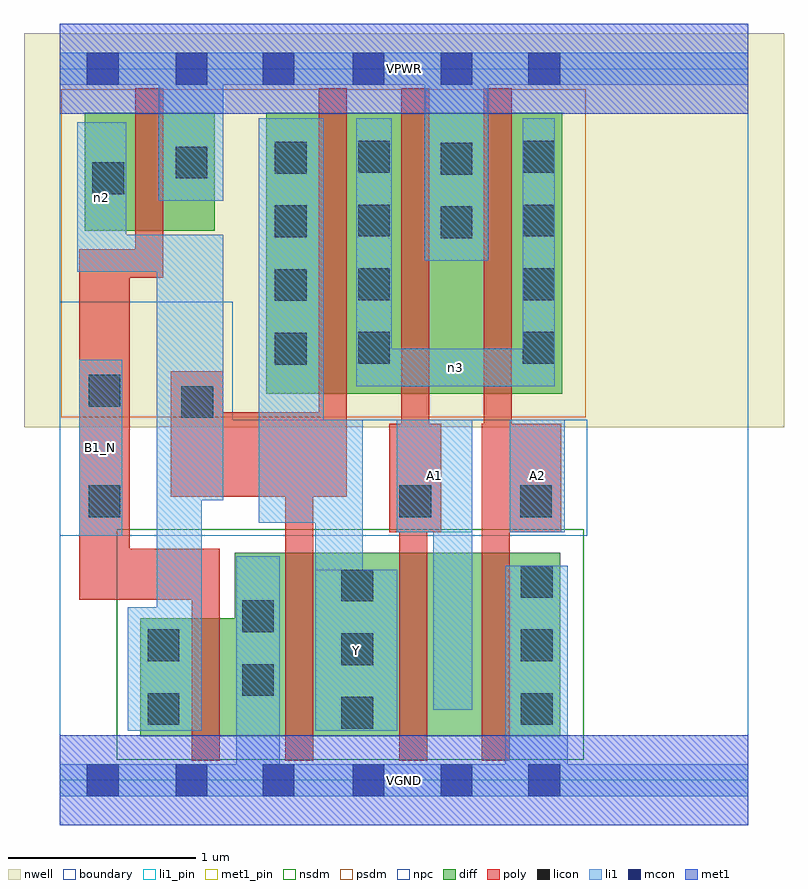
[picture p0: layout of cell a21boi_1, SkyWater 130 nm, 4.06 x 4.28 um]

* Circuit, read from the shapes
.subckt a21boi_1 A1 A2 B1_N VGND VPWR Y n2 n3
XM1 VGND B1_N n2 VSUBS sky130_fd_pr__nfet_01v8 w=0.63 l=0.15
XM2 Y n2 VGND VSUBS sky130_fd_pr__nfet_01v8 w=0.98 l=0.15
XM3 n1 A1 Y VSUBS sky130_fd_pr__nfet_01v8 w=0.98 l=0.15
XM4 VGND A2 n1 VSUBS sky130_fd_pr__nfet_01v8 w=0.98 l=0.15
XM5 VPWR B1_N n2 n4 sky130_fd_pr__pfet_01v8 w=0.63 l=0.15
XM6 n3 n2 Y n4 sky130_fd_pr__pfet_01v8 w=1.5 l=0.15
XM7 VPWR A1 n3 n4 sky130_fd_pr__pfet_01v8 w=1.5 l=0.15
XM8 n3 A2 VPWR n4 sky130_fd_pr__pfet_01v8 w=1.5 l=0.15
.ends

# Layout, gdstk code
import gdstk
lib = gdstk.Library(unit=1e-6, precision=1e-09)
def R(c, l, rs):  # rectangles x0, y0, x1, y1
    for r in rs: c.add(gdstk.rectangle(r[:2], r[2:], *l))
def A(c, l, x, y, w, h, nx, ny, dx, dy):  # array of equal rectangles
    R(c, l, [(x+i*dx, y+j*dy, x+i*dx+w, y+j*dy+h) for i in range(nx) for j in range(ny)])
nwell = (64, 20)
diff = (65, 20)
poly = (66, 20)
licon = (66, 44)
li1_pin = (67, 16)
li1 = (67, 20)
mcon = (67, 44)
met1_pin = (68, 16)
met1 = (68, 20)
nsdm = (93, 44)
psdm = (94, 20)
npc = (95, 20)
boundary = (235, 4)

a21boi_1 = lib.new_cell('a21boi_1')
R(a21boi_1, nwell, [(-0.19,1.885,3.87,3.99), (0,1.885,3.68,3.99)])
R(a21boi_1, diff, [(0.43,0.235,2.675,0.865), (0.935,0.235,2.675,1.215), (1.105,2.065,2.685,3.565), (0.135,2.935,0.83,3.565)])
R(a21boi_1, poly, [(0.705,0.105,0.855,1.235), (1.205,0.105,1.355,1.965), (1.815,0.105,1.965,1.905), (2.255,0.105,2.405,1.905), (0.105,0.965,0.375,2.835), (0.105,0.965,0.855,1.235), (1.76,1.325,2.04,1.905), (1.825,1.325,1.975,3.695), (2.255,1.325,2.68,1.905), (2.265,1.325,2.415,3.695), (0.595,1.515,1.535,1.965), (0.595,1.515,0.875,2.185), (1.385,1.515,1.535,3.695), (0.105,2.685,0.555,2.835), (0.405,2.685,0.555,3.695)])
A(a21boi_1, licon, 1.505, 0.275, 0.17, 0.17, 1, 3, 0, 0.34)
A(a21boi_1, licon, 2.465, 0.295, 0.17, 0.17, 1, 3, 0, 0.34)
A(a21boi_1, licon, 1.15, 2.22, 0.17, 0.17, 1, 4, 0, 0.34)
A(a21boi_1, licon, 1.595, 2.225, 0.17, 0.17, 1, 4, 0, 0.34)
A(a21boi_1, licon, 2.475, 2.225, 0.17, 0.17, 1, 4, 0, 0.34)
R(a21boi_1, licon, [(0.47,0.295,0.64,0.465), (0.975,0.45,1.145,0.62), (0.47,0.635,0.64,0.805), (0.975,0.79,1.145,0.96), (0.155,1.405,0.325,1.575), (1.815,1.405,1.985,1.575), (2.46,1.405,2.63,1.575), (0.65,1.935,0.82,2.105), (0.155,1.995,0.325,2.165), (2.035,2.895,2.205,3.065), (0.175,3.13,0.345,3.3), (0.62,3.215,0.79,3.385), (2.035,3.235,2.205,3.405)])
R(a21boi_1, li1_pin, [(1.365,0.265,1.805,1.125), (0.105,1.305,0.335,2.245), (1.8,1.325,2.205,1.925), (2.405,1.325,2.7,1.925)])
R(a21boi_1, li1, [(0,-0.085,3.68,0.085), (0.945,-0.085,1.175,1.195), (2.38,-0.085,2.715,1.145), (0.365,0.265,0.76,0.925), (0.52,0.265,0.76,2.915), (1.365,0.265,1.62,1.925), (1.365,0.265,1.805,1.125), (1.995,0.375,2.205,1.925), (0.105,1.305,0.335,2.245), (1.8,1.325,2.205,1.925), (2.405,1.325,2.7,1.925), (1.065,1.375,1.41,3.535), (0.52,1.495,0.875,2.915), (1.585,2.105,2.645,2.305), (1.585,2.105,1.775,3.535), (2.475,2.105,2.645,3.535), (0.095,2.715,0.355,3.515), (0.095,2.715,0.875,2.915), (1.95,2.775,2.29,3.885), (0.53,3.095,0.875,3.885), (0,3.715,3.68,3.885)])
A(a21boi_1, mcon, 1.565, -0.085, 0.17, 0.17, 3, 2, 0.47, 3.8)
R(a21boi_1, mcon, [(0.145,-0.085,0.315,0.085), (0.62,-0.085,0.79,0.085), (1.085,-0.085,1.255,0.085), (0.145,3.715,0.315,3.885), (0.62,3.715,0.79,3.885), (1.085,3.715,1.255,3.885)])
R(a21boi_1, met1_pin, [(0,-0.24,3.68,0.24), (0,3.56,3.68,4.04)])
R(a21boi_1, met1, [(0,-0.24,3.68,0.24), (0,3.56,3.68,4.04)])
R(a21boi_1, nsdm, [(0.305,0.11,2.8,1.34)])
R(a21boi_1, psdm, [(0.01,1.94,2.81,3.69)])
R(a21boi_1, npc, [(0,1.305,2.82,1.925), (0,1.305,0.925,2.555)])
R(a21boi_1, boundary, [(0,0,3.68,3.8)])
a21boi_1.add(gdstk.Label('A1', (2.002,1.625), layer=67, texttype=5))
a21boi_1.add(gdstk.Label('A2', (2.552,1.625), layer=67, texttype=5))
a21boi_1.add(gdstk.Label('B1_N', (0.22,1.775), layer=67, texttype=5))
a21boi_1.add(gdstk.Label('Y', (1.585,0.695), layer=67, texttype=5))
a21boi_1.add(gdstk.Label('n2', (0.225,3.115), layer=67, texttype=5))
a21boi_1.add(gdstk.Label('n3', (2.115,2.205), layer=67, texttype=5))
a21boi_1.add(gdstk.Label('VPWR', (1.84,3.8), layer=68, texttype=5))
a21boi_1.add(gdstk.Label('VGND', (1.84,0), layer=68, texttype=5))
a21boi_1.add(gdstk.Label('A1', (2.002,1.625), layer=67, texttype=16))
a21boi_1.add(gdstk.Label('A2', (2.552,1.625), layer=67, texttype=16))
a21boi_1.add(gdstk.Label('B1_N', (0.22,1.775), layer=67, texttype=16))
a21boi_1.add(gdstk.Label('Y', (1.585,0.695), layer=67, texttype=16))
a21boi_1.add(gdstk.Label('VPWR', (1.84,3.8), layer=68, texttype=16))
a21boi_1.add(gdstk.Label('VGND', (1.84,0), layer=68, texttype=16))

lib.write_gds('a21boi_1.gds')
